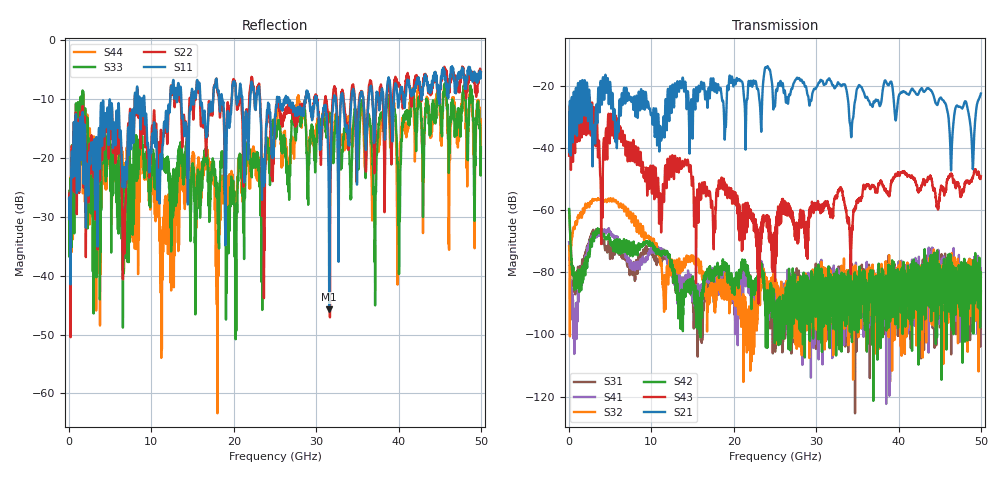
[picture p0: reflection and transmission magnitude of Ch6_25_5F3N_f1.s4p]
!Agilent Technologies,N5247A,US51170199,A.09.90.13
!Agilent N5247A: A.09.90.13
!Date: Wednesday, December 16, 2015 09:44:02
!Correction: S11(Full 4 Port(1,2,3,4))
!S12(Full 4 Port(1,2,3,4))
!S13(Full 4 Port(1,2,3,4))
!S14(Full 4 Port(1,2,3,4))
!S21(Full 4 Port(1,2,3,4))
!S22(Full 4 Port(1,2,3,4))
!S23(Full 4 Port(1,2,3,4))
!S24(Full 4 Port(1,2,3,4))
!S31(Full 4 Port(1,2,3,4))
!S32(Full 4 Port(1,2,3,4))
!S33(Full 4 Port(1,2,3,4))
!S34(Full 4 Port(1,2,3,4))
!S41(Full 4 Port(1,2,3,4))
!S42(Full 4 Port(1,2,3,4))
!S43(Full 4 Port(1,2,3,4))
!S44(Full 4 Port(1,2,3,4))
!S4P File: Measurements: <S11,S12,S13,S14>,
!<S21,S22,S23,S24>,
!<S31,S32,S33,S34>,
!<S41,S42,S43,S44>:
# Hz S  dB  R 50
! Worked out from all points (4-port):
!   3201 points, 10 MHz to 50 GHz, reference 50 ohm
!   strongest paths, dB at 10 MHz, 12.51 GHz, 25 GHz, 37.5 GHz, 50 GHz:
!     S21: -41.3, -21.7, -26.6, -24.6, -22.5
!     S43: -42.5, -44.4, -82.9, -52.7, -49.1
!     S42: -59.6, -78.1, -98.0, -91.9, -86.1
!     S32: -71.6, -76.8, -84.8, -89.4, -92.0
!     S41: -70.4, -80.8, -88.6, -90.1, -81.4
!     S31: -59.8, -79.4, -101.6, -89.2, -80.4
!   lowest |S11| = -45.7 dB at 31.58 GHz (marker M1), VSWR 1.01, Z = 49.5 - j0.0362 ohm
!   |S11| at or under -10 dB: start of sweep to 7.96 GHz; 9.142 GHz to 12.29 GHz (3.145 GHz wide, 29.4 % of centre); 26.6 GHz to 28.71 GHz (2.111 GHz wide, 7.63 % of centre)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
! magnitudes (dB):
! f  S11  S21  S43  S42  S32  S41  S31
! 10 MHz  -30.4  -41.3  -42.5  -59.6  -71.6  -70.4  -59.8
! 5.212 GHz  -11.2  -22.9  -35.9  -70.4  -57.2  -68.0  -73.8
! 6.665 GHz  -21.6  -20.8  -37.1  -69.3  -59.9  -73.2  -75.2
! 12.54 GHz  -8.6  -20.0  -42.3  -77.4  -78.6  -79.5  -80.0
! 23.01 GHz  -8.3  -22.0  -90.2  -78.1  -87.6  -80.8  -83.2
! 31.58 GHz  -45.7  -17.6  -60.5  -95.3  -87.6  -83.4  -90.3
! 50 GHz  -5.6  -22.5  -49.1  -86.1  -92.0  -81.4  -80.4
